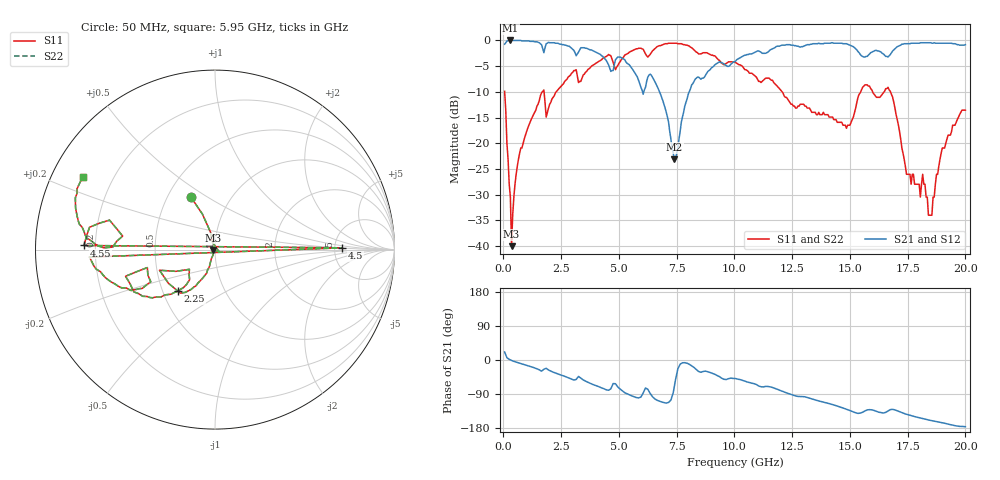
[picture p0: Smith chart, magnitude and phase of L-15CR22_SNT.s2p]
#	mhz	s	ma	r	50
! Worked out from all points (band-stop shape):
!   400 points, 50 MHz to 20 GHz, reference 50 ohm
!   highest |S21| = 0.00 dB at 300 MHz (marker M1); lowest = -23.1 dB at 7.4 GHz (marker M2)
!   |S21| within 3 dB of the highest: start of sweep to 4.26 GHz; 10.39 GHz to 15.51 GHz (5.12 GHz wide, 39.5 % of centre) (the widest 2 of 4)
!   lowest |S11| = -40.0 dB at 350 MHz (marker M3), VSWR 1.02, Z = 49 - j0.164 ohm
!   |S11| at or under -10 dB: 51.41 MHz to 1.681 GHz (1.63 GHz wide, 188 % of centre); 12.07 GHz to 15.47 GHz (3.397 GHz wide, 24.7 % of centre); 16.76 GHz to end of sweep (the widest 3 of 5)
!   |S22| runs from -40.0 to -0.5 dB; largest |S21 - S12| = 0
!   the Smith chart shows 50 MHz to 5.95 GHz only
!   S11 on the Smith chart (normalised r, x): 50 MHz: 0.66, +0.43; 2.25 GHz: 0.60, -0.31; 4.5 GHz: 5.89, +0.24; 4.55 GHz: 0.16, +0.02; 5.95 GHz: 0.09, +0.26
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50  0.32 114.6  0.92 21.0  0.92 21.0  0.32 114.6
300  0.03 -30.9  1 0.2  1 0.2  0.03 -30.9
350  0.01 -170.4  1 -1.3  1 -1.3  0.01 -170.4
750  0.09 -109.2  1 -9.4  1 -9.4  0.09 -109.2
2250  0.31 -131.6  0.94 -34.1  0.94 -34.1  0.31 -131.6
3400  0.43 -152.7  0.85 -50.2  0.85 -50.2  0.43 -152.7
4450  0.7 -176.6  0.64 -78.6  0.64 -78.6  0.7 -176.6
4500  0.71 0.8  0.61 -79.2  0.61 -79.2  0.71 0.8
4550  0.73 178.2  0.58 -79.9  0.58 -79.9  0.73 178.2
5950  0.84 151.0  0.35 -97.8  0.35 -97.8  0.84 151.0
6700  0.88 146.8  0.34 -107.4  0.34 -107.4  0.88 146.8
7400  0.94 121.7  0.07 -69.4  0.07 -69.4  0.94 121.7
8300  0.79 82.4  0.42 -22.5  0.42 -22.5  0.79 82.4
10050  0.61 60.8  0.63 -48.9  0.63 -48.9  0.61 60.8
13350  0.2 22.1  0.92 -102.5  0.92 -102.5  0.2 22.1
15150  0.18 34.5  0.87 -137.1  0.87 -137.1  0.18 34.5
16700  0.33 20.4  0.71 -132.7  0.71 -132.7  0.33 20.4
17450  0.05 28.6  0.93 -143.2  0.93 -143.2  0.05 28.6
18150  0.05 111.7  0.95 -154.4  0.95 -154.4  0.05 111.7
18400  0.02 87.8  0.95 -158.2  0.95 -158.2  0.02 87.8
19000  0.09 -49.4  0.94 -165.7  0.94 -165.7  0.09 -49.4
20000  0.21 -59.2  0.91 -176.0  0.91 -176.0  0.21 -59.2
